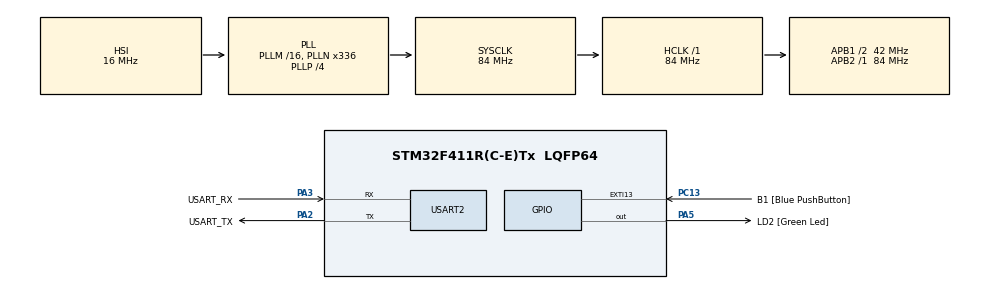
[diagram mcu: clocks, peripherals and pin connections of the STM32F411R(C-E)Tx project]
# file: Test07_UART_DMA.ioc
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Dma.Request0=USART2_RX
Dma.USART2_RX.0.Direction=DMA_PERIPH_TO_MEMORY
Dma.USART2_RX.0.FIFOMode=DMA_FIFOMODE_DISABLE
Dma.USART2_RX.0.Instance=DMA1_Stream5
Dma.USART2_RX.0.MemDataAlignment=DMA_MDATAALIGN_BYTE
Dma.USART2_RX.0.MemInc=DMA_MINC_ENABLE
Dma.USART2_RX.0.Mode=DMA_CIRCULAR
Dma.USART2_RX.0.PeriphDataAlignment=DMA_PDATAALIGN_BYTE
Dma.USART2_RX.0.PeriphInc=DMA_PINC_DISABLE
Dma.USART2_RX.0.Priority=DMA_PRIORITY_LOW
Mcu.Family=STM32F4
Mcu.Name=STM32F411R(C-E)Tx
Mcu.Package=LQFP64
NVIC.DMA1_Stream5_IRQn=true\:0\:0\:false\:false\:true\:false\:true\:true
NVIC.PriorityGroup=NVIC_PRIORITYGROUP_0
PA13.GPIO_Label=TMS
PA13.Mode=Serial_Wire
PA13.Signal=SYS_JTMS-SWDIO
PA14.GPIO_Label=TCK
PA14.Mode=Serial_Wire
PA14.Signal=SYS_JTCK-SWCLK
PA2.GPIO_Label=USART_TX
PA2.Mode=Asynchronous
PA2.Signal=USART2_TX
PA3.GPIO_Label=USART_RX
PA3.Mode=Asynchronous
PA3.Signal=USART2_RX
PA5.GPIO_Label=LD2 [Green Led]
PA5.Signal=GPIO_Output
PB3.GPIO_Label=SWO
PB3.Signal=SYS_JTDO-SWO
PC13-ANTI_TAMP.GPIO_Label=B1 [Blue PushButton]
PC13-ANTI_TAMP.GPIO_ModeDefaultEXTI=GPIO_MODE_IT_FALLING
PC13-ANTI_TAMP.Signal=GPXTI13
PC14-OSC32_IN.Mode=LSE-External-Oscillator
PC14-OSC32_IN.Signal=RCC_OSC32_IN
PC15-OSC32_OUT.Mode=LSE-External-Oscillator
PC15-OSC32_OUT.Signal=RCC_OSC32_OUT
PH0\ -\ OSC_IN.Mode=HSE-External-Clock-Source
PH0\ -\ OSC_IN.Signal=RCC_OSC_IN
PH1\ -\ OSC_OUT.Mode=HSE-External-Clock-Source
PH1\ -\ OSC_OUT.Signal=RCC_OSC_OUT
ProjectManager.HeapSize=0x200
ProjectManager.StackSize=0x400
ProjectManager.TargetToolchain=STM32CubeIDE
RCC.48MHZClocksFreq_Value=84000000
RCC.AHBFreq_Value=84000000
RCC.APB1CLKDivider=RCC_HCLK_DIV2
RCC.APB1Freq_Value=42000000
RCC.APB1TimFreq_Value=84000000
RCC.APB2Freq_Value=84000000
RCC.APB2TimFreq_Value=84000000
RCC.CortexFreq_Value=84000000
RCC.FLatency-AdvancedSettings=FLASH_LATENCY_2
RCC.HCLKFreq_Value=84000000
RCC.HSE_VALUE=8000000
RCC.HSI_VALUE=16000000
RCC.PLLN=336
RCC.PLLP=RCC_PLLP_DIV4
RCC.SYSCLKFreq_VALUE=84000000
RCC.SYSCLKSource=RCC_SYSCLKSOURCE_PLLCLK
RCC.VCOOutputFreq_Value=336000000
USART2.VirtualMode=VM_ASYNC
board=NUCLEO-F411RE

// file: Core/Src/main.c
/* USER CODE BEGIN Header */
/**
  ******************************************************************************
  * @file           : main.c
  * @brief          : Main program body
  ******************************************************************************
  * @attention
  *
  * Copyright (c) 2024 STMicroelectronics.
  * All rights reserved.
  *
  * This software is licensed under terms that can be found in the LICENSE file
  * in the root directory of this software component.
  * If no LICENSE file comes with this software, it is provided AS-IS.
  *
  ******************************************************************************
  */
/* USER CODE END Header */
#include "main.h"

UART_HandleTypeDef huart2;
DMA_HandleTypeDef hdma_usart2_rx;

void SystemClock_Config(void);
static void MX_GPIO_Init(void);
static void MX_DMA_Init(void);
static void MX_USART2_UART_Init(void);

/* USER CODE BEGIN 0 */
#define MAX_BUF 100
char Buf[MAX_BUF];
int head = 0, tail = 0;
int GetBuffer(char *bb)
{
	int ret = 0;
	tail = MAX_BUF - huart2.hdmarx->Instance->NDTR;
	if(head == tail) return 0;
	if(head < tail) //
	{
		memcpy(bb, Buf + head , tail - head);
		ret = tail - head;
	}
	else // tail < head
	{
		memcpy(bb, Buf + head , MAX_BUF - head);
		memcpy(bb + MAX_BUF - head, Buf, tail);
		ret = MAX_BUF - head + tail;
	}
	head = tail;
	bb[ret] = 0; // *(bb+ret) = 0
	return ret;
}
/* USER CODE END 0 */

int main(void)
{

  /* MCU Configuration--------------------------------------------------------*/

  /* Reset of all peripherals, Initializes the Flash interface and the Systick. */
  HAL_Init();

  /* Configure the system clock */
  SystemClock_Config();

  /* Initialize all configured peripherals */
  MX_GPIO_Init();
  MX_DMA_Init();
  MX_USART2_UART_Init();
  /* USER CODE BEGIN 2 */
  ProgramStart("UART - DMA");
  HAL_UART_Receive_DMA(&huart2, Buf, MAX_BUF);
  /* USER CODE END 2 */

  /* Infinite loop */
  /* USER CODE BEGIN WHILE */
  char bb[100];
  while (1)
  {
	  if(GetBuffer(bb) > 0)
		  printf("Received Data : %s\r\n",bb);
	  HAL_Delay(1000);
    /* USER CODE END WHILE */

  }
}

void SystemClock_Config(void)
{
  RCC_OscInitTypeDef RCC_OscInitStruct = {0};
  RCC_ClkInitTypeDef RCC_ClkInitStruct = {0};

  /** Configure the main internal regulator output voltage
  */
  __HAL_RCC_PWR_CLK_ENABLE();
  __HAL_PWR_VOLTAGESCALING_CONFIG(PWR_REGULATOR_VOLTAGE_SCALE1);

  /** Initializes the RCC Oscillators according to the specified parameters
  * in the RCC_OscInitTypeDef structure.
  */
  RCC_OscInitStruct.OscillatorType = RCC_OSCILLATORTYPE_HSI;
  RCC_OscInitStruct.HSIState = RCC_HSI_ON;
  RCC_OscInitStruct.HSICalibrationValue = RCC_HSICALIBRATION_DEFAULT;
  RCC_OscInitStruct.PLL.PLLState = RCC_PLL_ON;
  RCC_OscInitStruct.PLL.PLLSource = RCC_PLLSOURCE_HSI;
  RCC_OscInitStruct.PLL.PLLM = 16;
  RCC_OscInitStruct.PLL.PLLN = 336;
  RCC_OscInitStruct.PLL.PLLP = RCC_PLLP_DIV4;
  RCC_OscInitStruct.PLL.PLLQ = 4;
  if (HAL_RCC_OscConfig(&RCC_OscInitStruct) != HAL_OK)
  {
    Error_Handler();
  }

  /** Initializes the CPU, AHB and APB buses clocks
  */
  RCC_ClkInitStruct.ClockType = RCC_CLOCKTYPE_HCLK|RCC_CLOCKTYPE_SYSCLK
                              |RCC_CLOCKTYPE_PCLK1|RCC_CLOCKTYPE_PCLK2;
  RCC_ClkInitStruct.SYSCLKSource = RCC_SYSCLKSOURCE_PLLCLK;
  RCC_ClkInitStruct.AHBCLKDivider = RCC_SYSCLK_DIV1;
  RCC_ClkInitStruct.APB1CLKDivider = RCC_HCLK_DIV2;
  RCC_ClkInitStruct.APB2CLKDivider = RCC_HCLK_DIV1;

  if (HAL_RCC_ClockConfig(&RCC_ClkInitStruct, FLASH_LATENCY_2) != HAL_OK)
  {
    Error_Handler();
  }
}

static void MX_USART2_UART_Init(void)
{

  huart2.Instance = USART2;
  huart2.Init.BaudRate = 115200;
  huart2.Init.WordLength = UART_WORDLENGTH_8B;
  huart2.Init.StopBits = UART_STOPBITS_1;
  huart2.Init.Parity = UART_PARITY_NONE;
  huart2.Init.Mode = UART_MODE_TX_RX;
  huart2.Init.HwFlowCtl = UART_HWCONTROL_NONE;
  huart2.Init.OverSampling = UART_OVERSAMPLING_16;
  if (HAL_UART_Init(&huart2) != HAL_OK)
  {
    Error_Handler();
  }

}

static void MX_DMA_Init(void)
{

  /* DMA controller clock enable */
  __HAL_RCC_DMA1_CLK_ENABLE();

  /* DMA interrupt init */
  /* DMA1_Stream5_IRQn interrupt configuration */
  HAL_NVIC_SetPriority(DMA1_Stream5_IRQn, 0, 0);
  HAL_NVIC_EnableIRQ(DMA1_Stream5_IRQn);

}

static void MX_GPIO_Init(void)
{
  GPIO_InitTypeDef GPIO_InitStruct = {0};

  /* GPIO Ports Clock Enable */
  __HAL_RCC_GPIOC_CLK_ENABLE();
  __HAL_RCC_GPIOH_CLK_ENABLE();
  __HAL_RCC_GPIOA_CLK_ENABLE();
  __HAL_RCC_GPIOB_CLK_ENABLE();

  /*Configure GPIO pin Output Level */
  HAL_GPIO_WritePin(LD2_GPIO_Port, LD2_Pin, GPIO_PIN_RESET);

  /*Configure GPIO pin : B1_Pin */
  GPIO_InitStruct.Pin = B1_Pin;
  GPIO_InitStruct.Mode = GPIO_MODE_IT_FALLING;
  GPIO_InitStruct.Pull = GPIO_NOPULL;
  HAL_GPIO_Init(B1_GPIO_Port, &GPIO_InitStruct);

  /*Configure GPIO pin : LD2_Pin */
  GPIO_InitStruct.Pin = LD2_Pin;
  GPIO_InitStruct.Mode = GPIO_MODE_OUTPUT_PP;
  GPIO_InitStruct.Pull = GPIO_NOPULL;
  GPIO_InitStruct.Speed = GPIO_SPEED_FREQ_LOW;
  HAL_GPIO_Init(LD2_GPIO_Port, &GPIO_InitStruct);

}

void Error_Handler(void)
{
  __disable_irq();
  while (1)
  {
  }
}
